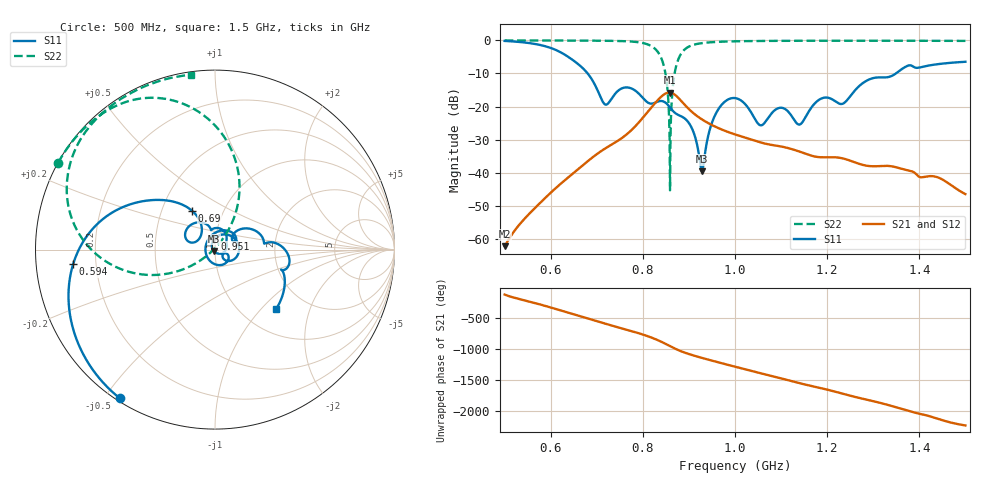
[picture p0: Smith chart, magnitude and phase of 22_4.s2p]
! TOUCHSTONE file generated by CST MICROWAVE STUDIO
! Date and time: Fri Oct  2 16:57:30 2020
! Project name: Scenario_1_Free_Space_out_of_line.cst
! Parameters = {Lambda=346.42; Step_1=17.321; dy1=-16.521; dx1=693; L_HA=400; MT=2.54; Rad_Dielectric=30; Rad_Lower=7.3; Rad_Upper=30; a_HA=580; a_WG=246; b_HA=500; b_WG=121; c_HA=0; c_WG=187; d_feed=85; h_feed=15; h_lower=18; h_upper=40}
! Header version: 2018
! Port assignment regex: !\s*Touchstone port\s*([0-9]+)\s*=\s*(CST MWS port|CST DS port)\s*([0-9]+|Zmin|Zmax)\s*\(\"(.*)\"\)(\s*mode\s*([0-9]+))?.*
! Touchstone port assignment:
! Touchstone port 1 = CST MWS port 1 ("")
! Touchstone port 2 = CST MWS port 2 ("")
# GHz S DB R 50
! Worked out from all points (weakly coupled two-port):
!   1003 points, 500 MHz to 1.5 GHz, reference 50 ohm
!   highest |S21| = -15.76 dB at 858 MHz (marker M1); lowest = -62.3 dB at 500 MHz (marker M2)
!   lowest |S11| = -39.6 dB at 928 MHz (marker M3), VSWR 1.02, Z = 49.2 - j0.691 ohm
!   |S11| at or under -10 dB: 680.2 MHz to 1.349 GHz (668.9 MHz wide, 65.9 % of centre)
!   |S22| runs from -45.4 to 0.0 dB; largest |S21 - S12| = 3.2e-05
!   S11 on the Smith chart (normalised r, x): 500 MHz: 0.01, -0.55; 594 MHz: 0.11, -0.05; 690 MHz: 0.71, +0.33; 951 MHz: 0.99, +0.12; 1.5 GHz: 1.41, -1.22
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0.5  -0.15 -122.7  -62.26 -116.1  -62.26 -116.1  -0.01 151.1
0.594  -1.99 -174.1  -46.88 47.5  -46.88 47.5  -0.02 144.5
0.667  -8.05 135.9  -38.10 -111.8  -38.10 -111.8  -0.04 138.2
0.69  -11.94 120.7  -35.48 -162.6  -35.48 -162.6  -0.06 135.8
0.719  -19.42 142.5  -32.63 131.6  -32.63 131.6  -0.10 132.3
0.763  -14.22 142.9  -28.64 37.9  -28.64 37.9  -0.24 124.6
0.834  -18.44 90.0  -17.83 -139.7  -17.83 -139.7  -3.77 86.6
0.848  -18.71 66.5  -16.17 171.2  -16.17 171.2  -9.21 66.9
0.858  -20.11 49.7  -15.76 133.0  -15.76 133.0  -29.30 56.6
0.863  -20.97 43.5  -15.90 113.7  -15.90 113.7  -17.52 -144.6
0.868  -21.71 38.6  -16.28 95.0  -16.28 95.0  -10.76 -152.7
0.879  -22.68 27.6  -17.67 57.5  -17.67 57.5  -5.05 -170.0
0.907  -26.75 -24.5  -21.68 -16.1  -21.68 -16.1  -1.45 164.3
0.928  -39.55 -138.1  -23.88 -61.5  -23.88 -61.5  -0.82 154.9
0.951  -24.51 93.6  -25.68 -108.4  -25.68 -108.4  -0.52 148.5
1  -17.44 -1.5  -28.44 155.6  -28.44 155.6  -0.26 140.0
1.056  -25.70 -31.9  -30.88 48.6  -30.88 48.6  -0.16 133.6
1.099  -20.36 -49.8  -32.07 -31.7  -32.07 -31.7  -0.12 129.6
1.141  -25.42 172.9  -33.69 -113.0  -33.69 -113.0  -0.10 126.1
1.167  -20.08 84.0  -34.92 -159.2  -34.92 -159.2  -0.09 124.0
1.334  -11.04 7.0  -37.99 -108.3  -37.99 -108.3  -0.09 111.3
1.5  -6.46 -44.5  -46.51 -76.0  -46.52 -76.3  -0.14 97.7
